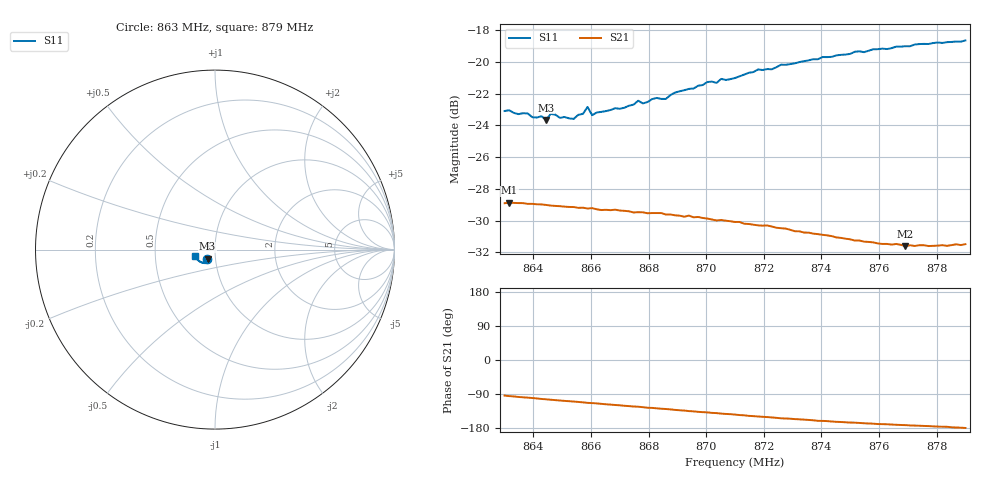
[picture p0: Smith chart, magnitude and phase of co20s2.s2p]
# HZ S RI R 50
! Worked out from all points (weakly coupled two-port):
!   101 points, 863 MHz to 879 MHz, reference 50 ohm
!   highest |S21| = -28.86 dB at 863.16 MHz (marker M1); lowest = -31.6 dB at 876.92 MHz (marker M2)
!   lowest |S11| = -23.6 dB at 864.44 MHz (marker M3), VSWR 1.14, Z = 45.8 - j4.71 ohm
!   |S11| at or under -10 dB: start of sweep to end of sweep
!   S12 and S22 are empty: the file has one direction only
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8.63e8  -0.0453 -0.0535  -0.00244 -0.0358  0 0  0 0
8.6316e8  -0.044 -0.0551  -0.00331 -0.0359  0 0  0 0
8.6396e8  -0.0398 -0.0539  -0.0064 -0.0352  0 0  0 0
8.6428e8  -0.0379 -0.0558  -0.00788 -0.0347  0 0  0 0
8.6444e8  -0.0412 -0.0512  -0.00842 -0.0344  0 0  0 0
8.646e8  -0.0385 -0.0568  -0.00906 -0.0341  0 0  0 0
8.654e8  -0.0353 -0.056  -0.0117 -0.0329  0 0  0 0
8.6572e8  -0.0352 -0.0589  -0.0129 -0.0323  0 0  0 0
8.6588e8  -0.0404 -0.0598  -0.0135 -0.0318  0 0  0 0
8.6604e8  -0.034 -0.0588  -0.0139 -0.0317  0 0  0 0
8.6716e8  -0.0343 -0.063  -0.0174 -0.0292  0 0  0 0
8.6764e8  -0.0366 -0.066  -0.0184 -0.0281  0 0  0 0
8.678e8  -0.0359 -0.0647  -0.019 -0.0277  0 0  0 0
8.6844e8  -0.0375 -0.0667  -0.0209 -0.0261  0 0  0 0
8.7004e8  -0.0448 -0.074  -0.0239 -0.0214  0 0  0 0
8.71e8  -0.0501 -0.0736  -0.0253 -0.0184  0 0  0 0
8.718e8  -0.0573 -0.0755  -0.0262 -0.0157  0 0  0 0
8.7228e8  -0.0594 -0.074  -0.0267 -0.0144  0 0  0 0
8.7372e8  -0.0702 -0.074  -0.0269 -0.0103  0 0  0 0
8.7644e8  -0.0931 -0.0598  -0.0262 -0.00447  0 0  0 0
8.7692e8  -0.0971 -0.0561  -0.026 -0.00373  0 0  0 0
8.79e8  -0.111 -0.0366  -0.0267 -0.00029  0 0  0 0
